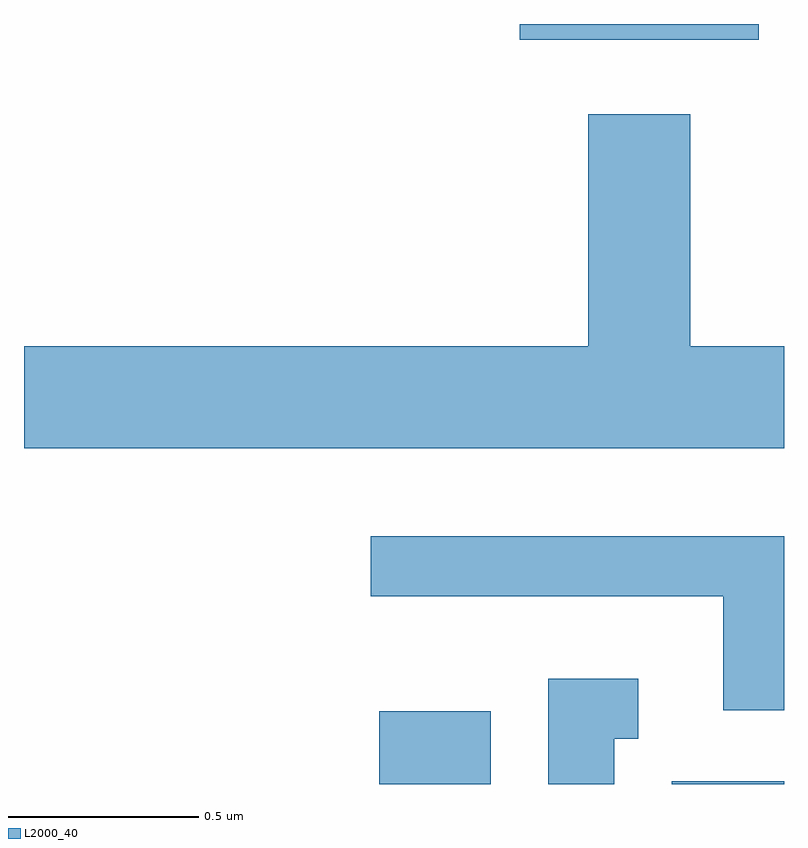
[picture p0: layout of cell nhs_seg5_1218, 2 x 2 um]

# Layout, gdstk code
import gdstk
lib = gdstk.Library(unit=1e-6, precision=1e-09)
def R(c, l, rs):  # rectangles x0, y0, x1, y1
    for r in rs: c.add(gdstk.rectangle(r[:2], r[2:], *l))
def P(c, l, *ps):  # polygons
    for p in ps: c.add(gdstk.Polygon(p, *l))
L2000_40 = (2000, 40)

nhs_seg5_1218 = lib.new_cell('nhs_seg5_1218')
R(nhs_seg5_1218, L2000_40, [(194.546,1518.072,194.839,1518.264), (195.316,1518.072,195.611,1518.079), (194.916,1520.031,195.544,1520.072)])
P(nhs_seg5_1218, L2000_40, [(195.611,1519.224),(195.364,1519.224),(195.364,1519.834),(195.096,1519.834),(195.096,1519.224),(193.611,1519.224),(193.611,1518.956),(195.611,1518.956)],
  [(195.611,1518.724),(194.523,1518.724),(194.523,1518.566),(195.451,1518.566),(195.451,1518.266),(195.611,1518.266)],
  [(195.164,1518.191),(195.228,1518.191),(195.228,1518.349),(194.991,1518.349),(194.991,1518.072),(195.164,1518.072)])

lib.write_gds('nhs_seg5_1218.gds')
